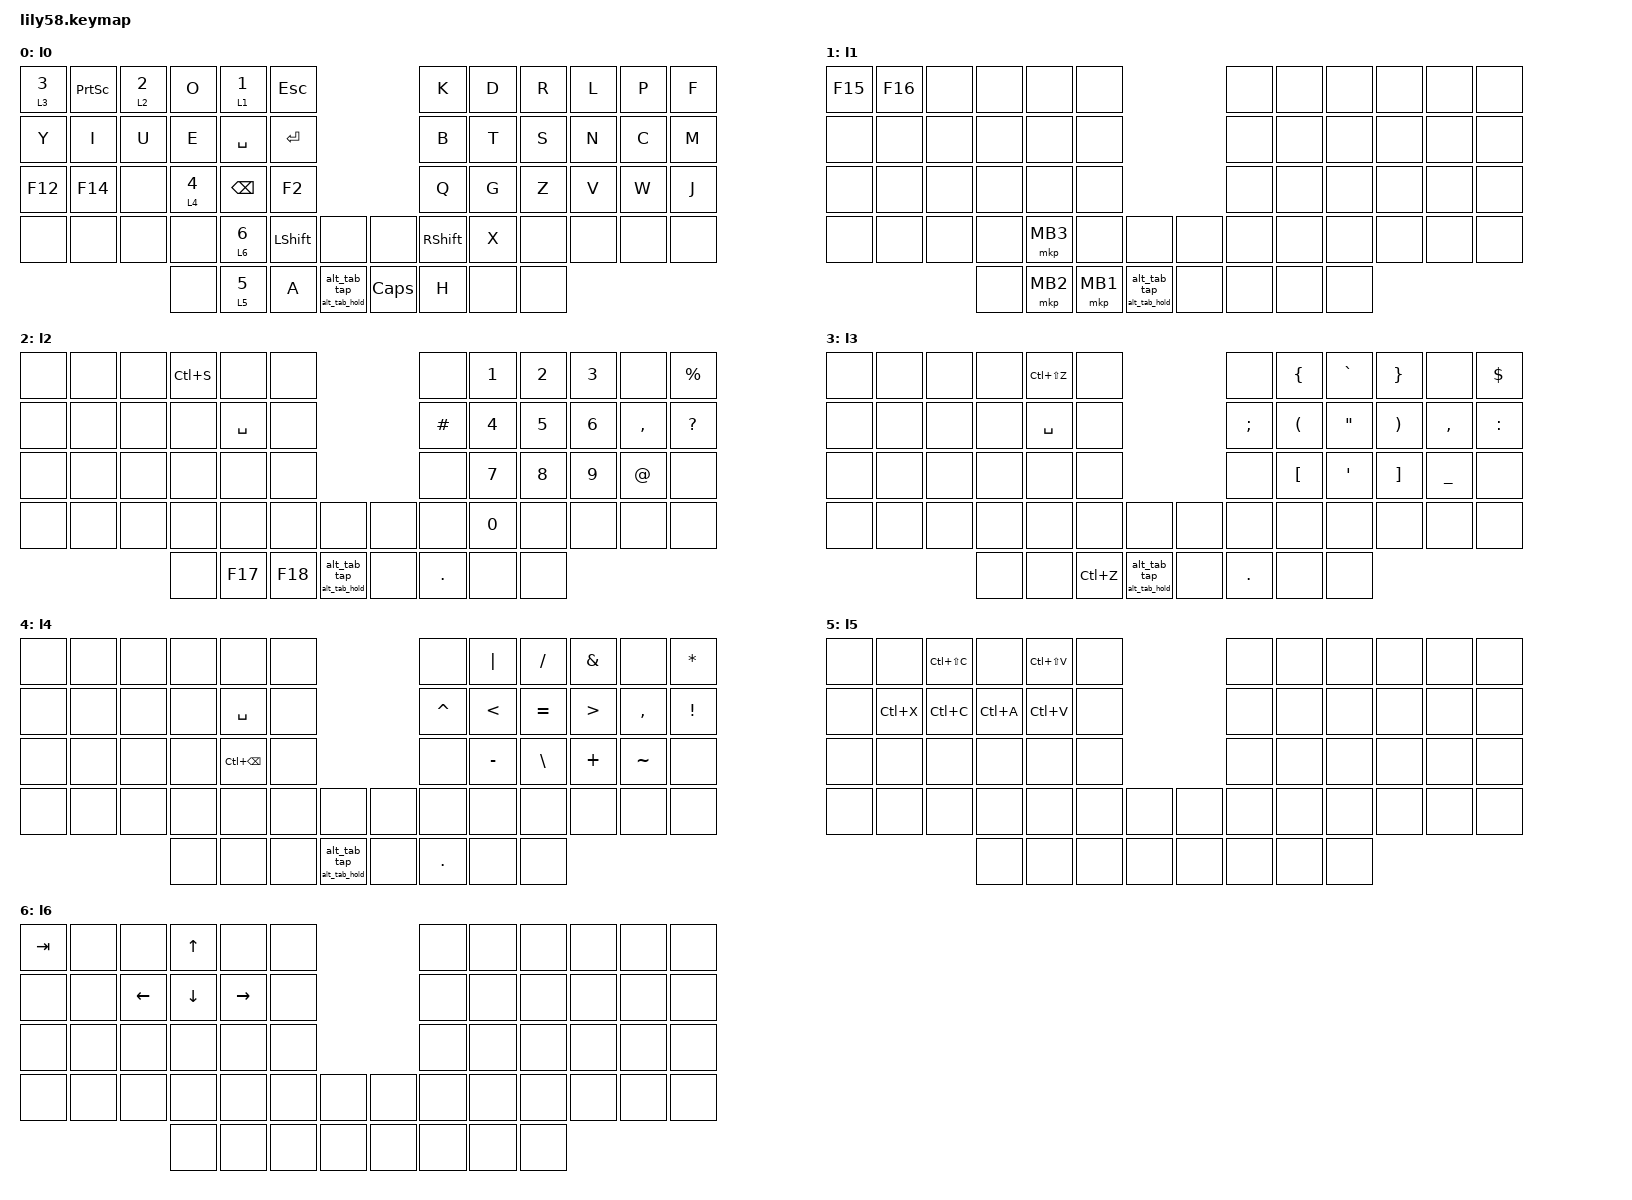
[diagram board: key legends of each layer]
// config/lily58.keymap
// separate project now but i want to integrate it in lithos somehow in the future
// scripture must be renamed to kjarra related somehow in the future too

#include <behaviors.dtsi>
#include <dt-bindings/zmk/keys.h>
#include <dt-bindings/zmk/bt.h>
#include <dt-bindings/zmk/ext_power.h>
#include <dt-bindings/zmk/pointing.h>

#define _A        &kp A
#define _B        &kp B
#define _C        &kp C
#define _D        &kp D
#define _E        &kp E
#define _F        &kp F
#define _G        &kp G
#define _H        &kp H
#define _I        &kp I
#define _J        &kp J
#define _K        &kp K
#define _L        &kp L
#define _M        &kp M
#define _N        &kp N
#define _O        &kp O
#define _P        &kp P
#define _Q        &kp Q
#define _R        &kp R
#define _S        &kp S
#define _T        &kp T
#define _U        &kp U
#define _V        &kp V
#define _W        &kp W
#define _X        &kp X
#define _Y        &kp Y
#define _Z        &kp Z

#define _N0       &kp N0
#define _N1       &kp N1
#define _N2       &kp N2
#define _N3       &kp N3
#define _N4       &kp N4
#define _N5       &kp N5
#define _N6       &kp N6
#define _N7       &kp N7
#define _N8       &kp N8
#define _N9       &kp N9

#define _SP       &kp SPACE
#define _BS       &kp BSPC
#define _CBS      &kp LC(BSPC)
#define _DEL      &kp DEL
#define _ESC      &kp ESC
#define _ENT      &kp ENTER
#define _TAB      &kp TAB
#define _SCR      &kp PSCRN
#define _CAP      &kp CAPS

#define _DOT      &kp DOT
#define _COM      &kp COMMA
#define _LPR      &kp LPAR
#define _LBR      &kp LBRC
#define _LBK      &kp LBKT
#define _RPR      &kp RPAR
#define _RBR      &kp RBRC
#define _RBK      &kp RBKT
#define _QMK      &kp QMARK
#define _EXL      &kp EXCL
#define _GRV      &kp GRAVE
#define _SQT      &kp SQT
#define _DQT      &kp DQT
#define _EQL      &kp EQUAL
#define _CL       &kp COLON
#define _UND      &kp UNDER
#define _MNS      &kp MINUS
#define _FSH      &kp FSLH
#define _BSH      &kp BSLH
#define _PLS      &kp PLUS

#define _SCL      &kp SEMI
#define _LT       &kp LT
#define _GT       &kp GT
#define _AMP      &kp AMPS
#define _PIP      &kp PIPE
#define _CRT      &kp CARET
#define _TLD      &kp TILDE
#define _HSH      &kp HASH
#define _AST      &kp ASTRK
#define _DLR      &kp DLLR
#define _AT       &kp AT
#define _PNT      &kp PRCNT

#define _LFT      &kp LEFT
#define _DWN      &kp DOWN
#define _UP       &kp UP
#define _RHT      &kp RIGHT

#define _LG       &kp LGUI
#define _LA       &kp LALT
#define _LC       &kp LCTRL
#define _LS       &kp LSHFT
#define _RG       &kp RGUI
#define _RA       &kp RALT
#define _RC       &kp RCTRL
#define _RS       &kp RSHFT

#define _UDO      &kp LC(Z)
#define _RDO      &kp LC(LS(Z))
#define _ALL      &kp LC(A)
#define _CUT      &kp LC(X)
#define _CP       &kp LC(C)
#define _PS       &kp LC(V)
#define _SCP      &kp LC(LS(C))
#define _SPS      &kp LC(LS(V))

#define _SAV      &kp LC(S)
#define _DTS      &kp LC(LS(I))
#define _FND      &kp LC(F)

#define _TBB      &kp LC(LS(T))
#define _TBC      &kp LC(W)
#define _TBN      &kp LC(T)
#define _TBL      &kp LC(LS(TAB))
#define _TBR      &kp LC(TAB)

#define _ARF      &arrow_func

#define _ATB      &altb 0 0

#define _MB1      &mkp MB1
#define _MB2      &mkp MB2
#define _MB3      &mkp MB3

#define _F2      &kp F2
#define _F12      &kp F12
#define _F14      &kp F14
#define _F15      &kp F15
#define _F16      &kp F16
#define _F17      &kp F17
#define _F18      &kp F18

#define _L1      &layer 1 1
#define _L2      &layer 2 2
#define _L3      &layer 3 3
#define _L4      &layer 4 4
#define _L5      &layer 5 5
#define _L6      &layer 6 6

#define ____      &none
#define mmmm      &none
#define xxxx      &none

/ {
    keymap {
        compatible = "zmk,keymap";
        l0 { bindings = <
_L3  _SCR _L2  _O   _L1  _ESC           _K   _D   _R   _L   _P   _F
_Y   _I   _U   _E   _SP  _ENT           _B   _T   _S   _N   _C   _M
_F12 _F14 mmmm _L4  _BS  _F2            _Q   _G   _Z   _V   _W   _J
____ ____ ____ ____ _L6  _LS  ____ ____ _RS  _X   ____ ____ ____ ____
               ____ _L5  _A   _ATB _CAP _H   mmmm ____ 
        >; };
        l1 { bindings = <
_F15 _F16 mmmm mmmm xxxx mmmm           mmmm mmmm mmmm mmmm mmmm mmmm
mmmm mmmm mmmm mmmm mmmm mmmm           mmmm mmmm mmmm mmmm mmmm mmmm
mmmm mmmm mmmm mmmm mmmm ____           mmmm mmmm mmmm mmmm mmmm mmmm
____ ____ ____ ____ _MB3 mmmm ____ ____ mmmm mmmm ____ ____ ____ ____
               ____ _MB2 _MB1 _ATB mmmm mmmm mmmm ____
        >; };
        l2 { bindings = <
mmmm mmmm xxxx _SAV mmmm mmmm           mmmm _N1  _N2  _N3  mmmm _PNT
mmmm mmmm mmmm mmmm _SP  mmmm           _HSH _N4  _N5  _N6  _COM _QMK
mmmm mmmm mmmm mmmm mmmm ____           mmmm _N7  _N8  _N9  _AT  mmmm
____ ____ ____ ____ mmmm mmmm ____ ____ mmmm _N0  ____ ____ ____ ____
               ____ _F17 _F18 _ATB mmmm _DOT mmmm ____
        >; };
        l3 { bindings = <
xxxx mmmm mmmm mmmm _RDO mmmm           mmmm _LBR _GRV _RBR mmmm _DLR
mmmm mmmm mmmm mmmm _SP  mmmm           _SCL _LPR _DQT _RPR _COM _CL
mmmm mmmm mmmm mmmm mmmm ____           mmmm _LBK _SQT _RBK _UND mmmm
____ ____ ____ ____ mmmm mmmm ____ ____ mmmm mmmm ____ ____ ____ ____
               ____ mmmm _UDO _ATB mmmm _DOT mmmm ____
        >; };
        l4 { bindings = <
mmmm mmmm mmmm mmmm mmmm mmmm           mmmm _PIP _FSH _AMP mmmm _AST
mmmm mmmm mmmm mmmm _SP  mmmm           _CRT _LT  _EQL _GT  _COM _EXL
mmmm mmmm mmmm xxxx _CBS ____           mmmm _MNS _BSH _PLS _TLD mmmm
____ ____ ____ ____ mmmm mmmm ____ ____ mmmm mmmm ____ ____ ____ ____
               ____ mmmm mmmm _ATB mmmm _DOT mmmm ____
        >; };
        l5 { bindings = <
mmmm mmmm _SCP mmmm _SPS mmmm           mmmm mmmm mmmm mmmm mmmm mmmm
mmmm _CUT _CP  _ALL _PS  mmmm           mmmm mmmm mmmm mmmm mmmm mmmm
mmmm mmmm mmmm mmmm mmmm ____           mmmm mmmm mmmm mmmm mmmm mmmm
____ ____ ____ ____ mmmm mmmm ____ ____ mmmm mmmm ____ ____ ____ ____
               ____ xxxx mmmm mmmm mmmm mmmm mmmm ____
        >; };
        l6 { bindings = <
_TAB mmmm mmmm _UP  mmmm mmmm           mmmm mmmm mmmm mmmm mmmm mmmm
mmmm mmmm _LFT _DWN _RHT mmmm           mmmm mmmm mmmm mmmm mmmm mmmm
mmmm mmmm mmmm mmmm mmmm ____           mmmm mmmm mmmm mmmm mmmm mmmm
____ ____ ____ ____ xxxx mmmm ____ ____ mmmm mmmm ____ ____ ____ ____
               ____ mmmm mmmm mmmm mmmm mmmm mmmm ____
        >; };
    };
    behaviors {
        arrow_func: arrow_func {
            compatible = "zmk,behavior-macro";
            #binding-cells = <0>;
            bindings = <&kp EQUAL>, <&kp GT>;
        };
        ol: ol {
            compatible = "zmk,behavior-oneshot-layer";
            #binding-cells = <1>;
            release-after-ms = <1000>;
        };
        layer: layer {
            compatible = "zmk,behavior-hold-tap";
            #binding-cells = <2>;
            flavor = "tap-preferred";
            tapping-term-ms = <200>;
            bindings = <&mo>, <&ol>;
        };
        altb: alt_tab {
            compatible = "zmk,behavior-hold-tap";
            #binding-cells = <2>;
            flavor = "tap-preferred";
            tapping-term-ms = <200>;
            bindings = <&alt_tab_hold>, <&alt_tab_tap>;
        };
    };
    macros {
        alt_tab_tap: alt_tab_tap {
            compatible = "zmk,behavior-macro";
            #binding-cells = <0>;
            wait-ms = <0>;
            tap-ms = <20>;
            bindings = <&macro_press &kp LALT>, <&macro_tap &kp TAB>, <&macro_release &kp LALT>;
        };
        alt_tab_hold: alt_tab_hold {
            compatible = "zmk,behavior-macro";
            #binding-cells = <0>;
            wait-ms = <0>;
            tap-ms = <20>;
            bindings = <&macro_press &kp LALT>, <&macro_tap &kp TAB>, <&macro_pause_for_release>, <&macro_release &kp LALT>;
        };
    };
};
